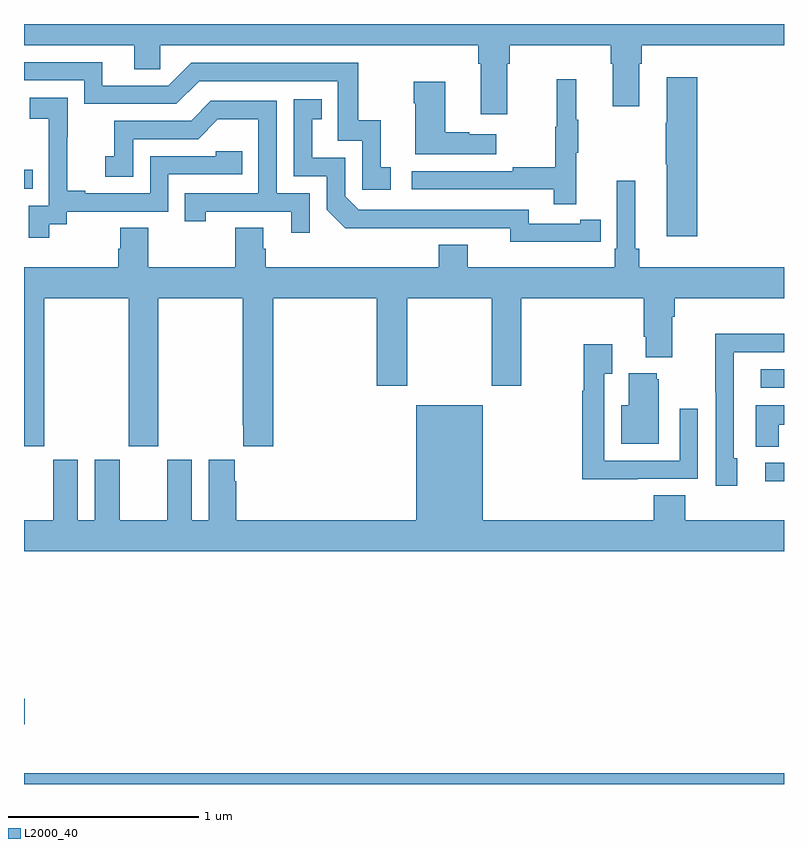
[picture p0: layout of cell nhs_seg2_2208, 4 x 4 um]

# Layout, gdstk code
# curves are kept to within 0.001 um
import gdstk
lib = gdstk.Library(unit=1e-6, precision=1e-09)
def R(c, l, rs):  # rectangles x0, y0, x1, y1
    for r in rs: c.add(gdstk.rectangle(r[:2], r[2:], *l))
def P(c, l, *ps):  # polygons
    for p in ps: c.add(gdstk.Polygon(p, *l))
L2000_40 = (2000, 40)

nhs_seg2_2208 = lib.new_cell('nhs_seg2_2208')
R(nhs_seg2_2208, L2000_40, [(227,591.8,231,591.856), (227,592.115,227.005,592.25), (230.901,593.393,231,593.49), (230.877,593.886,231,593.982), (227,594.933,227.045,595.034)])
P(nhs_seg2_2208, L2000_40, [(229.543,595.592),(229.556,595.592),(229.556,595.688),(230.087,595.688),(230.087,595.592),(230.099,595.592),(230.099,595.368),(230.239,595.368),(230.239,595.592),(230.252,595.592),(230.252,595.688),(231,595.688),(231,595.8),(227,595.8),(227,595.688),(227.579,595.688),(227.579,595.561),(227.718,595.561),(227.718,595.688),(229.391,595.688),(229.391,595.592),(229.403,595.592),(229.403,595.326),(229.543,595.326)],
  [(228.931,595.047),(228.878,595.047),(228.878,595.294),(228.76,595.294),(228.76,595.596),(227.88,595.596),(227.76,595.476),(227.413,595.476),(227.413,595.599),(227,595.599),(227,595.503),(227.316,595.503),(227.316,595.38),(227.802,595.38),(227.922,595.5),(228.651,595.5),(228.651,595.185),(228.78,595.185),(228.78,594.927),(228.931,594.927)],
  [(230.543,595.519),(230.384,595.519),(230.384,595.28),(230.377,595.28),(230.377,595.063),(230.384,595.063),(230.384,594.684),(230.543,594.684)],
  [(229.907,595.123),(229.918,595.123),(229.918,595.297),(229.907,595.297),(229.907,595.51),(229.804,595.51),(229.804,595.26),(229.797,595.26),(229.797,595.046),(229.573,595.046),(229.573,595.026),(229.041,595.026),(229.041,594.93),(229.789,594.93),(229.789,594.852),(229.907,594.852)],
  [(229.486,595.219),(229.343,595.219),(229.343,595.229),(229.216,595.229),(229.216,595.495),(229.051,595.495),(229.051,595.382),(229.058,595.382),(229.058,595.115),(229.486,595.115)],
  [(227.134,594.745),(227.226,594.745),(227.226,594.813),(227.76,594.813),(227.76,595.008),(228.149,595.008),(228.149,595.131),(228.009,595.131),(228.009,595.104),(227.664,595.104),(227.664,594.909),(227.323,594.909),(227.323,594.922),(227.228,594.922),(227.228,595.205),(227.229,595.205),(227.229,595.411),(227.031,595.411),(227.031,595.301),(227.129,595.301),(227.129,595.073),(227.13,595.073),(227.13,594.843),(227.025,594.843),(227.025,594.675),(227.134,594.675)],
  [(229.928,594.654),(230.036,594.654),(230.036,594.77),(229.928,594.77),(229.928,594.75),(229.656,594.75),(229.656,594.822),(228.762,594.822),(228.69,594.894),(228.69,595.095),(228.517,595.095),(228.517,595.299),(228.566,595.299),(228.566,595.405),(228.42,595.405),(228.42,594.999),(228.594,594.999),(228.594,594.822),(228.692,594.725),(229.56,594.726),(229.56,594.653)],
  [(228.504,594.909),(228.33,594.909),(228.33,595.395),(227.984,595.395),(227.879,595.29),(227.476,595.29),(227.476,595.105),(227.427,595.105),(227.427,594.996),(227.574,594.996),(227.574,595.194),(227.916,595.194),(228.02,595.298),(228.234,595.298),(228.234,594.909),(227.845,594.909),(227.845,594.762),(227.956,594.762),(227.956,594.813),(228.407,594.813),(228.407,594.702),(228.504,594.702)],
  [(227.106,594.356),(227.551,594.356),(227.551,593.577),(227.706,593.577),(227.706,594.356),(228.151,594.356),(228.151,593.689),(228.155,593.689),(228.155,593.577),(228.311,593.577),(228.311,594.356),(228.857,594.356),(228.857,593.895),(229.017,593.895),(229.017,594.356),(229.462,594.356),(229.462,593.895),(229.617,593.895),(229.617,594.356),(230.261,594.356),(230.261,594.154),(230.273,594.154),(230.273,594.047),(230.413,594.047),(230.413,594.26),(230.426,594.26),(230.426,594.356),(231,594.356),(231,594.52),(230.237,594.52),(230.237,594.616),(230.218,594.616),(230.218,594.976),(230.121,594.976),(230.121,594.616),(230.108,594.616),(230.108,594.52),(229.336,594.52),(229.336,594.637),(229.184,594.637),(229.184,594.52),(228.272,594.52),(228.272,594.618),(228.259,594.618),(228.259,594.728),(228.112,594.728),(228.112,594.52),(227.655,594.52),(227.655,594.728),(227.507,594.728),(227.507,594.618),(227.495,594.618),(227.495,594.52),(227,594.52),(227,593.577),(227.106,593.577)],
  [(230.755,593.514),(230.736,593.514),(230.736,594.072),(231,594.072),(231,594.17),(230.638,594.17),(230.638,593.863),(230.64,593.863),(230.64,593.37),(230.755,593.37)],
  [(230.231,593.406),(230.547,593.406),(230.547,593.776),(230.451,593.776),(230.451,593.502),(230.055,593.502),(230.055,593.959),(230.095,593.959),(230.095,594.115),(229.947,594.115),(229.947,593.87),(229.939,593.87),(229.939,593.405),(230.231,593.405)],
  [(230.341,593.931),(230.33,593.931),(230.33,593.962),(230.183,593.962),(230.183,593.794),(230.144,593.794),(230.144,593.591),(230.341,593.591)],
  [(231,593.188),(230.48,593.188),(230.48,593.321),(230.315,593.321),(230.315,593.188),(229.414,593.188),(229.414,593.794),(229.064,593.794),(229.064,593.188),(228.116,593.188),(228.116,593.393),(228.109,593.393),(228.109,593.506),(227.972,593.506),(227.972,593.188),(227.884,593.188),(227.884,593.506),(227.753,593.506),(227.753,593.188),(227.503,593.188),(227.503,593.506),(227.372,593.506),(227.372,593.188),(227.284,593.188),(227.284,593.506),(227.153,593.506),(227.153,593.188),(227,593.188),(227,593.024),(231,593.024)],
  [(230.973,593.69),(231,593.69),(231,593.794),(230.852,593.794),(230.852,593.575),(230.973,593.575)])

lib.write_gds('nhs_seg2_2208.gds')
